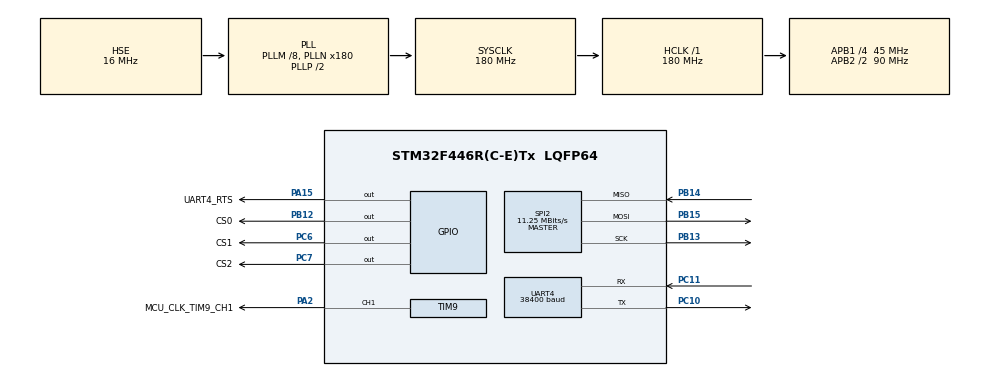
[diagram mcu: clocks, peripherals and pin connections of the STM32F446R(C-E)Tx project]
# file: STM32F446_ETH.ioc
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FREERTOS.BinarySemaphores01=myBinarySemSpi,Dynamic,NULL,Available;myBinaryMbTCPSem01,Static,myBinaryMbTCPSem01ControlBlock,Available
FREERTOS.Tasks01=defaultTask,24,1024,StartDefaultTask,Default,NULL,Dynamic,NULL,NULL
FREERTOS.configENABLE_FPU=0
FREERTOS.configMINIMAL_STACK_SIZE=256
FREERTOS.configTOTAL_HEAP_SIZE=32000
FREERTOS.configUSE_PREEMPTION=1
Mcu.Family=STM32F4
Mcu.Name=STM32F446R(C-E)Tx
Mcu.Package=LQFP64
NVIC.PriorityGroup=NVIC_PRIORITYGROUP_4
NVIC.UART4_IRQn=true\:5\:0\:false\:false\:true\:true\:true\:false\:true
PA15.GPIO_Label=UART4_RTS
PA15.Signal=GPIO_Output
PA2.GPIO_Label=MCU_CLK_TIM9_CH1
PA2.Signal=S_TIM9_CH1
PB12.GPIO_Label=CS0
PB12.Signal=GPIO_Output
PB13.Mode=Full_Duplex_Master
PB13.Signal=SPI2_SCK
PB14.Mode=Full_Duplex_Master
PB14.Signal=SPI2_MISO
PB15.Mode=Full_Duplex_Master
PB15.Signal=SPI2_MOSI
PC10.Mode=Asynchronous
PC10.Signal=UART4_TX
PC11.Mode=Asynchronous
PC11.Signal=UART4_RX
PC12.Signal=UART5_TX
PC14-OSC32_IN.Mode=LSE-External-Oscillator
PC14-OSC32_IN.Signal=RCC_OSC32_IN
PC15-OSC32_OUT.Mode=LSE-External-Oscillator
PC15-OSC32_OUT.Signal=RCC_OSC32_OUT
PC6.GPIO_Label=CS1
PC6.Signal=GPIO_Output
PC7.GPIO_Label=CS2
PC7.Signal=GPIO_Output
PD2.Signal=UART5_RX
PH0-OSC_IN.Mode=HSE-External-Oscillator
PH0-OSC_IN.Signal=RCC_OSC_IN
PH1-OSC_OUT.Mode=HSE-External-Oscillator
PH1-OSC_OUT.Signal=RCC_OSC_OUT
ProjectManager.HeapSize=0x200
ProjectManager.StackSize=0x400
ProjectManager.TargetToolchain=STM32CubeIDE
RCC.AHBFreq_Value=180000000
RCC.APB1CLKDivider=RCC_HCLK_DIV4
RCC.APB1Freq_Value=45000000
RCC.APB1TimFreq_Value=90000000
RCC.APB2CLKDivider=RCC_HCLK_DIV2
RCC.APB2Freq_Value=90000000
RCC.APB2TimFreq_Value=180000000
RCC.CortexFreq_Value=180000000
RCC.HCLKFreq_Value=180000000
RCC.HSE_VALUE=16000000
RCC.PLLM=8
RCC.PLLN=180
RCC.PLLSourceVirtual=RCC_PLLSOURCE_HSE
RCC.SYSCLKFreq_VALUE=180000000
RCC.SYSCLKSource=RCC_SYSCLKSOURCE_PLLCLK
RCC.USBFreq_Value=180000000
RCC.VCOOutputFreq_Value=360000000
SH.S_TIM9_CH1.0=TIM9_CH1,PWM Generation1 CH1
SPI2.BaudRatePrescaler=SPI_BAUDRATEPRESCALER_4
SPI2.CalculateBaudRate=11.25 MBits/s
SPI2.Direction=SPI_DIRECTION_2LINES
SPI2.Mode=SPI_MODE_MASTER
SPI2.VirtualType=VM_MASTER
TIM9.AutoReloadPreload=TIM_AUTORELOAD_PRELOAD_ENABLE
TIM9.Channel-PWM\ Generation1\ CH1=TIM_CHANNEL_1
UART4.BaudRate=38400
UART4.VirtualMode=Asynchronous
VP_FATFS_VS_Generic.Mode=User_defined
VP_FREERTOS_VS_CMSIS_V2.Mode=CMSIS_V2
VP_TIM9_VS_ClockSourceINT.Mode=Internal
board=custom

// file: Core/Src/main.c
/* USER CODE BEGIN Header */
/**
  ******************************************************************************
  * @file           : main.c
  * @brief          : Main program body
  ******************************************************************************
  * @attention
  *
  * <h2><center>&copy; Copyright (c) 2020 STMicroelectronics.
  * All rights reserved.</center></h2>
  *
  * This software component is licensed by ST under BSD 3-Clause license,
  * the "License"; You may not use this file except in compliance with the
  * License. You may obtain a copy of the License at:
  *                        opensource.org/licenses/BSD-3-Clause
  *
  ******************************************************************************
  */
/* USER CODE END Header */
#include "main.h"
#include "cmsis_os.h"
#include "fatfs.h"

/* USER CODE BEGIN Includes */
#include "../../lwip/Target/enc424j600/enc424j600.h"
#include "lwip.h"
#include "semphr.h"
#include "api.h"

#include "bit-array.h"

#include "mb.h"
#include "mbport.h"
#include "mbutils.h"

#include "bacnet/bacdef.h"

#include "bacnet_task.h"
#include "hmi_task.h"
/* USER CODE END Includes */

typedef StaticSemaphore_t osStaticSemaphoreDef_t;
/* USER CODE BEGIN PTD */
//#define MB_POOL_TASK

#define REG_DISC_START							1
#define REG_DISC_SIZE							256

#define REG_COILS_START							1
#define REG_COILS_SIZE							256

#define REG_INPUT_START							1
#define REG_INPUT_NREGS							16

#define REG_HOLDING_START						1
#define REG_HOLDING_NREGS						50
/* USER CODE END PTD */

SPI_HandleTypeDef hspi2;

TIM_HandleTypeDef htim9;

UART_HandleTypeDef huart4;

/* Definitions for defaultTask */
osThreadId_t defaultTaskHandle;
const osThreadAttr_t defaultTask_attributes = {
  .name = "defaultTask",
  .stack_size = 1024 * 4,
  .priority = (osPriority_t) osPriorityNormal,
};
/* Definitions for myBinarySemSpi */
osSemaphoreId_t myBinarySemSpiHandle;
const osSemaphoreAttr_t myBinarySemSpi_attributes = {
  .name = "myBinarySemSpi"
};
/* Definitions for myBinaryMbTCPSem01 */
osSemaphoreId_t myBinaryMbTCPSem01Handle;
osStaticSemaphoreDef_t myBinaryMbTCPSem01ControlBlock;
const osSemaphoreAttr_t myBinaryMbTCPSem01_attributes = {
  .name = "myBinaryMbTCPSem01",
  .cb_mem = &myBinaryMbTCPSem01ControlBlock,
  .cb_size = sizeof(myBinaryMbTCPSem01ControlBlock),
};
/* USER CODE BEGIN PV */
/* Definitions for myHmiTask */
osThreadId_t myHmiTaskHandle;
uint32_t myHmiTaskBuffer[ 128 ];
//osStaticThreadDef_t myHmiTaskControlBlock;
const osThreadAttr_t myHmiTask_attributes = {
  .name = "myHmiTask",
//.cb_mem = &myHmiTaskControlBlock,
//.cb_size = sizeof(myHmiTaskControlBlock),
  .stack_mem = &myHmiTaskBuffer[0],
  .stack_size = sizeof(myHmiTaskBuffer),
  .priority = (osPriority_t) osPriorityNormal,
};

osSemaphoreId ModBUS_AcceptSemaphore;

static StaticTask_t  ModBusTCPSlaveTaskCB[NUMBER_OF_MB_MASTER_TCP_CONN];
#ifdef MB_POOL_TASK
static StackType_t   ModBusTCPSlaveTaskStk[NUMBER_OF_MB_MASTER_TCP_CONN][256];
#else
static StackType_t   ModBusTCPSlaveTaskStk[NUMBER_OF_MB_MASTER_TCP_CONN][300];
#endif
const osThreadAttr_t ModBusTCPSlaveTask_attributes[NUMBER_OF_MB_MASTER_TCP_CONN] =
{
#if NUMBER_OF_MB_MASTER_TCP_CONN > 0
	{
		.name		= "mbTCPSTask1",
		.cb_mem		= &ModBusTCPSlaveTaskCB[0],
		.cb_size	= sizeof(ModBusTCPSlaveTaskCB[0]),
		.stack_mem	= &ModBusTCPSlaveTaskStk[0][0],
		.stack_size	= sizeof(ModBusTCPSlaveTaskStk[0]),
		.priority	= (osPriority_t) osPriorityNormal,
	},
#endif
#if NUMBER_OF_MB_MASTER_TCP_CONN > 1
	{
		.name		= "mbTCPSTask2",
		.cb_mem		= &ModBusTCPSlaveTaskCB[1],
		.cb_size	= sizeof(ModBusTCPSlaveTaskCB[1]),
		.stack_mem	= &ModBusTCPSlaveTaskStk[1][0],
		.stack_size	= sizeof(ModBusTCPSlaveTaskStk[1]),
		.priority	= (osPriority_t) osPriorityNormal,
	},
#endif
#if NUMBER_OF_MB_MASTER_TCP_CONN > 2
	{
		.name		= "mbTCPSTask3",
		.cb_mem		= &ModBusTCPSlaveTaskCB[2],
		.cb_size	= sizeof(ModBusTCPSlaveTaskCB[2]),
		.stack_mem	= &ModBusTCPSlaveTaskStk[2][0],
		.stack_size	= sizeof(ModBusTCPSlaveTaskStk[2]),
		.priority	= (osPriority_t) osPriorityNormal,
	},
#endif
#if NUMBER_OF_MB_MASTER_TCP_CONN > 3
	{
		.name		= "mbTCPSTask4",
		.cb_mem		= &ModBusTCPSlaveTaskCB[3],
		.cb_size	= sizeof(ModBusTCPSlaveTaskCB[3]),
		.stack_mem	= &ModBusTCPSlaveTaskStk[3][0],
		.stack_size	= sizeof(ModBusTCPSlaveTaskStk[3]),
		.priority	= (osPriority_t) osPriorityNormal,
	},
#endif
#if NUMBER_OF_MB_MASTER_TCP_CONN > 4
	{
		.name		= "mbTCPSTask5",
		.cb_mem		= &ModBusTCPSlaveTaskCB[4],
		.cb_size	= sizeof(ModBusTCPSlaveTaskCB[4]),
		.stack_mem	= &ModBusTCPSlaveTaskStk[4][0],
		.stack_size	= sizeof(ModBusTCPSlaveTaskStk[4]),
		.priority	= (osPriority_t) osPriorityNormal,
	},
#endif
};

static StaticTask_t  ModBusTCPSlaveАcceptTaskCB;
static StackType_t   ModBusTCPSlaveAcceptTaskStk[200];
const osThreadAttr_t ModBusTCPSlaveAcceptTask_attributes =
{
	.name       = "mbTCPSАcceptTask",
	.cb_mem     = &ModBusTCPSlaveАcceptTaskCB,
	.cb_size    = sizeof(ModBusTCPSlaveАcceptTaskCB),
	.stack_mem  = &ModBusTCPSlaveAcceptTaskStk,
	.stack_size = sizeof(ModBusTCPSlaveAcceptTaskStk),
	.priority   = (osPriority_t) osPriorityNormal,
};
#ifdef MB_POOL_TASK
static StaticTask_t  ModBusSlaveTaskCB;
static StackType_t   ModBusSlaveTaskStk[300];
const osThreadAttr_t ModBusSlaveTask_attributes =
{
	.name		= "mbSlaveTask",
	.cb_mem		= &ModBusSlaveTaskCB,
	.cb_size	= sizeof(ModBusSlaveTaskCB),
	.stack_mem	= &ModBusSlaveTaskStk,
	.stack_size	= sizeof(ModBusSlaveTaskStk),
	.priority	= (osPriority_t) osPriorityNormal,
};
#endif
static osThreadId_t  BacnetTaskHandle;
static StaticTask_t  BacnetTaskCB;
static StackType_t   BacnetTaskStk[2048];//(512 + (MAX_APDU * 4)) * 4];
const osThreadAttr_t BacnetTask_attributes =
{
		.name		= "BacnetTask",
		.cb_mem		= &BacnetTaskCB,
		.cb_size	= sizeof(BacnetTaskCB),
		.stack_mem	= &BacnetTaskStk,
		.stack_size	= sizeof(BacnetTaskStk),
		.priority	= (osPriority_t) osPriorityNormal,
};

/*extern*/ BACNET_BINARY_PV Binary_Output_Level[16][BACNET_MAX_PRIORITY];

osThreadId_t myModBusTCPSlaveAcceptTaskHandle;
osThreadId_t myModBusSlaveTaskHandle;

extern stModbusConn arrModbusConn[NUMBER_OF_MB_MASTER_TCP_CONN];

static HMI_TASK_ARG hmi_task_arg;

static uint8_t arrInput[ 256 ] = { 0 };
static uint8_t arrOutput[ 256 ] = { 0 };
static uint8_t usRS485PortLed[ 2 ] = { 0 };

static uint8_t ucRegDiscBuf[(REG_DISC_SIZE / 8) + 1];
static uint8_t ucRegCoilsBuf[(REG_COILS_SIZE / 8) + 1];
static uint16_t usRegInputBuf[REG_INPUT_NREGS];
static uint16_t uiRegHolding[REG_HOLDING_NREGS];
/* USER CODE END PV */

void SystemClock_Config(void);
static void MX_GPIO_Init(void);
static void MX_SPI2_Init(void);
static void MX_UART4_Init(void);
static void MX_TIM9_Init(void);
void StartDefaultTask(void *argument);

/* USER CODE BEGIN PFP */
static void MX_TIM9_Init_New(void);
void ModBusTCPSlaveAcceptTask(void *argument);
void ModBusTCPSlavePollTask(void *argument);
void ModBusSlaveTask(void *argument);
void StartDefaultTask(void *argument);
/* USER CODE END PFP */

/* USER CODE BEGIN 0 */
extern osSemaphoreId s_xSemaphore;
/* USER CODE END 0 */

int main(void)
{

  /* MCU Configuration--------------------------------------------------------*/

  /* Reset of all peripherals, Initializes the Flash interface and the Systick. */
  HAL_Init();

  /* Configure the system clock */
  SystemClock_Config();

  /* Initialize all configured peripherals */
  MX_GPIO_Init();
  MX_SPI2_Init();
  MX_FATFS_Init();
  MX_UART4_Init();
  MX_TIM9_Init();
  /* USER CODE BEGIN 2 */
  /////////////////////////////////////////////////////////////////////////////
  __HAL_DBGMCU_FREEZE_TIM9();
  HAL_TIM_PWM_Start( &htim9, TIM_CHANNEL_1 );
  /////////////////////////////////////////////////////////////////////////////
  const uint8_t ucSlaveID[] = { 0xAA, 0xBB, 0xCC };
  eMBErrorCode eStatus;
  //eStatus = eMBInit( MB_TCP, 0x0A, 0, 38400, MB_PAR_EVEN );
  eStatus = eMBTCPInit(502);
  eStatus = eMBSetSlaveID( 0x34, TRUE, ucSlaveID, 3 );
  eStatus = eMBEnable();
  eStatus = eStatus;

  hmiInitLeds();
  /* USER CODE END 2 */

  /* Init scheduler */
  osKernelInitialize();

  /* Create the semaphores(s) */
  /* creation of myBinarySemSpi */
  myBinarySemSpiHandle = osSemaphoreNew(1, 1, &myBinarySemSpi_attributes);

  /* creation of myBinaryMbTCPSem01 */
  myBinaryMbTCPSem01Handle = osSemaphoreNew(1, 1, &myBinaryMbTCPSem01_attributes);

  /* Create the thread(s) */
  /* creation of defaultTask */
  defaultTaskHandle = osThreadNew(StartDefaultTask, NULL, &defaultTask_attributes);

  /* USER CODE BEGIN RTOS_THREADS */
  BacnetTaskHandle = osThreadNew(BacnetTask, (void*)NULL, &BacnetTask_attributes);

  hmi_task_arg.lpRS485PortLed[0] = &usRS485PortLed[0];
  hmi_task_arg.lpRS485PortLed[1] = &usRS485PortLed[1];
  hmi_task_arg.arrInput = arrInput;
  hmi_task_arg.arrOutput = arrOutput;
  hmi_task_arg.arrInputLen = len_of_array( arrInput );
  hmi_task_arg.arrOutputLen = len_of_array( arrOutput );
  myHmiTaskHandle = osThreadNew(HmiTask, (void*) &hmi_task_arg, &myHmiTask_attributes);

  myModBusTCPSlaveAcceptTaskHandle = osThreadNew(ModBusTCPSlaveAcceptTask, NULL, &ModBusTCPSlaveAcceptTask_attributes);
#ifdef MB_POOL_TASK
  myModBusSlaveTaskHandle = osThreadNew(ModBusSlaveTask, NULL, &ModBusSlaveTask_attributes);
#endif

  vTaskSuspend(myModBusTCPSlaveAcceptTaskHandle);
#ifdef MB_POOL_TASK
  vTaskSuspend(myModBusSlaveTaskHandle);
#endif
  /* USER CODE END RTOS_THREADS */

  /* Start scheduler */
  osKernelStart();

  /* We should never get here as control is now taken by the scheduler */

  /* Infinite loop */
  while (1)
  {

  }
}

void SystemClock_Config(void)
{
  RCC_OscInitTypeDef RCC_OscInitStruct = {0};
  RCC_ClkInitTypeDef RCC_ClkInitStruct = {0};

  /** Configure the main internal regulator output voltage
  */
  __HAL_RCC_PWR_CLK_ENABLE();
  __HAL_PWR_VOLTAGESCALING_CONFIG(PWR_REGULATOR_VOLTAGE_SCALE1);

  /** Initializes the RCC Oscillators according to the specified parameters
  * in the RCC_OscInitTypeDef structure.
  */
  RCC_OscInitStruct.OscillatorType = RCC_OSCILLATORTYPE_HSE;
  RCC_OscInitStruct.HSEState = RCC_HSE_ON;
  RCC_OscInitStruct.PLL.PLLState = RCC_PLL_ON;
  RCC_OscInitStruct.PLL.PLLSource = RCC_PLLSOURCE_HSE;
  RCC_OscInitStruct.PLL.PLLM = 8;
  RCC_OscInitStruct.PLL.PLLN = 180;
  RCC_OscInitStruct.PLL.PLLP = RCC_PLLP_DIV2;
  RCC_OscInitStruct.PLL.PLLQ = 2;
  RCC_OscInitStruct.PLL.PLLR = 2;
  if (HAL_RCC_OscConfig(&RCC_OscInitStruct) != HAL_OK)
  {
    Error_Handler();
  }

  /** Activate the Over-Drive mode
  */
  if (HAL_PWREx_EnableOverDrive() != HAL_OK)
  {
    Error_Handler();
  }

  /** Initializes the CPU, AHB and APB buses clocks
  */
  RCC_ClkInitStruct.ClockType = RCC_CLOCKTYPE_HCLK|RCC_CLOCKTYPE_SYSCLK
                              |RCC_CLOCKTYPE_PCLK1|RCC_CLOCKTYPE_PCLK2;
  RCC_ClkInitStruct.SYSCLKSource = RCC_SYSCLKSOURCE_PLLCLK;
  RCC_ClkInitStruct.AHBCLKDivider = RCC_SYSCLK_DIV1;
  RCC_ClkInitStruct.APB1CLKDivider = RCC_HCLK_DIV4;
  RCC_ClkInitStruct.APB2CLKDivider = RCC_HCLK_DIV2;

  if (HAL_RCC_ClockConfig(&RCC_ClkInitStruct, FLASH_LATENCY_5) != HAL_OK)
  {
    Error_Handler();
  }
}

static void MX_SPI2_Init(void)
{

  /* SPI2 parameter configuration*/
  hspi2.Instance = SPI2;
  hspi2.Init.Mode = SPI_MODE_MASTER;
  hspi2.Init.Direction = SPI_DIRECTION_2LINES;
  hspi2.Init.DataSize = SPI_DATASIZE_8BIT;
  hspi2.Init.CLKPolarity = SPI_POLARITY_LOW;
  hspi2.Init.CLKPhase = SPI_PHASE_1EDGE;
  hspi2.Init.NSS = SPI_NSS_SOFT;
  hspi2.Init.BaudRatePrescaler = SPI_BAUDRATEPRESCALER_4;
  hspi2.Init.FirstBit = SPI_FIRSTBIT_MSB;
  hspi2.Init.TIMode = SPI_TIMODE_DISABLE;
  hspi2.Init.CRCCalculation = SPI_CRCCALCULATION_DISABLE;
  hspi2.Init.CRCPolynomial = 10;
  if (HAL_SPI_Init(&hspi2) != HAL_OK)
  {
    Error_Handler();
  }

}

static void MX_TIM9_Init(void)
{

  /* USER CODE BEGIN TIM9_Init 0 */
	MX_TIM9_Init_New();
	return;
  /* USER CODE END TIM9_Init 0 */

  TIM_ClockConfigTypeDef sClockSourceConfig = {0};
  TIM_OC_InitTypeDef sConfigOC = {0};

  htim9.Instance = TIM9;
  htim9.Init.Prescaler = 0;
  htim9.Init.CounterMode = TIM_COUNTERMODE_UP;
  htim9.Init.Period = 65535;
  htim9.Init.ClockDivision = TIM_CLOCKDIVISION_DIV1;
  htim9.Init.AutoReloadPreload = TIM_AUTORELOAD_PRELOAD_ENABLE;
  if (HAL_TIM_Base_Init(&htim9) != HAL_OK)
  {
    Error_Handler();
  }
  sClockSourceConfig.ClockSource = TIM_CLOCKSOURCE_INTERNAL;
  if (HAL_TIM_ConfigClockSource(&htim9, &sClockSourceConfig) != HAL_OK)
  {
    Error_Handler();
  }
  if (HAL_TIM_PWM_Init(&htim9) != HAL_OK)
  {
    Error_Handler();
  }
  sConfigOC.OCMode = TIM_OCMODE_PWM1;
  sConfigOC.Pulse = 0;
  sConfigOC.OCPolarity = TIM_OCPOLARITY_HIGH;
  sConfigOC.OCFastMode = TIM_OCFAST_DISABLE;
  if (HAL_TIM_PWM_ConfigChannel(&htim9, &sConfigOC, TIM_CHANNEL_1) != HAL_OK)
  {
    Error_Handler();
  }
  HAL_TIM_MspPostInit(&htim9);

}

static void MX_UART4_Init(void)
{

  huart4.Instance = UART4;
  huart4.Init.BaudRate = 38400;
  huart4.Init.WordLength = UART_WORDLENGTH_8B;
  huart4.Init.StopBits = UART_STOPBITS_1;
  huart4.Init.Parity = UART_PARITY_NONE;
  huart4.Init.Mode = UART_MODE_TX_RX;
  huart4.Init.HwFlowCtl = UART_HWCONTROL_NONE;
  huart4.Init.OverSampling = UART_OVERSAMPLING_16;
  if (HAL_UART_Init(&huart4) != HAL_OK)
  {
    Error_Handler();
  }

}

static void MX_GPIO_Init(void)
{
  GPIO_InitTypeDef GPIO_InitStruct = {0};

  /* GPIO Ports Clock Enable */
  __HAL_RCC_GPIOC_CLK_ENABLE();
  __HAL_RCC_GPIOH_CLK_ENABLE();
  __HAL_RCC_GPIOA_CLK_ENABLE();
  __HAL_RCC_GPIOB_CLK_ENABLE();
  __HAL_RCC_GPIOD_CLK_ENABLE();

  /*Configure GPIO pin Output Level */
  HAL_GPIO_WritePin(CS0_GPIO_Port, CS0_Pin, GPIO_PIN_RESET);

  /*Configure GPIO pin Output Level */
  HAL_GPIO_WritePin(GPIOC, CS1_Pin|CS2_Pin, GPIO_PIN_RESET);

  /*Configure GPIO pin Output Level */
  HAL_GPIO_WritePin(UART4_RTS_GPIO_Port, UART4_RTS_Pin, GPIO_PIN_RESET);

  /*Configure GPIO pin : CS0_Pin */
  GPIO_InitStruct.Pin = CS0_Pin;
  GPIO_InitStruct.Mode = GPIO_MODE_OUTPUT_PP;
  GPIO_InitStruct.Pull = GPIO_NOPULL;
  GPIO_InitStruct.Speed = GPIO_SPEED_FREQ_LOW;
  HAL_GPIO_Init(CS0_GPIO_Port, &GPIO_InitStruct);

  /*Configure GPIO pins : CS1_Pin CS2_Pin */
  GPIO_InitStruct.Pin = CS1_Pin|CS2_Pin;
  GPIO_InitStruct.Mode = GPIO_MODE_OUTPUT_PP;
  GPIO_InitStruct.Pull = GPIO_NOPULL;
  GPIO_InitStruct.Speed = GPIO_SPEED_FREQ_LOW;
  HAL_GPIO_Init(GPIOC, &GPIO_InitStruct);

  /*Configure GPIO pin : UART4_RTS_Pin */
  GPIO_InitStruct.Pin = UART4_RTS_Pin;
  GPIO_InitStruct.Mode = GPIO_MODE_OUTPUT_PP;
  GPIO_InitStruct.Pull = GPIO_NOPULL;
  GPIO_InitStruct.Speed = GPIO_SPEED_FREQ_LOW;
  HAL_GPIO_Init(UART4_RTS_GPIO_Port, &GPIO_InitStruct);

  /*Configure GPIO pin : PC12 */
  GPIO_InitStruct.Pin = GPIO_PIN_12;
  GPIO_InitStruct.Mode = GPIO_MODE_AF_PP;
  GPIO_InitStruct.Pull = GPIO_NOPULL;
  GPIO_InitStruct.Speed = GPIO_SPEED_FREQ_VERY_HIGH;
  GPIO_InitStruct.Alternate = GPIO_AF8_UART5;
  HAL_GPIO_Init(GPIOC, &GPIO_InitStruct);

  /*Configure GPIO pin : PD2 */
  GPIO_InitStruct.Pin = GPIO_PIN_2;
  GPIO_InitStruct.Mode = GPIO_MODE_AF_PP;
  GPIO_InitStruct.Pull = GPIO_NOPULL;
  GPIO_InitStruct.Speed = GPIO_SPEED_FREQ_VERY_HIGH;
  GPIO_InitStruct.Alternate = GPIO_AF8_UART5;
  HAL_GPIO_Init(GPIOD, &GPIO_InitStruct);

}

/* USER CODE BEGIN 4 */
static void MX_TIM9_Init_New(void)
{

  /* USER CODE BEGIN TIM9_Init 0 */

  /* USER CODE END TIM9_Init 0 */

  TIM_ClockConfigTypeDef sClockSourceConfig = {0};
  TIM_OC_InitTypeDef sConfigOC = {0};

  /* USER CODE BEGIN TIM9_Init 1 */

  /* USER CODE END TIM9_Init 1 */
  htim9.Instance = TIM9;
  htim9.Init.Prescaler = 4;
  htim9.Init.CounterMode = TIM_COUNTERMODE_UP;
  htim9.Init.Period = 5000;
  htim9.Init.ClockDivision = TIM_CLOCKDIVISION_DIV1;
  htim9.Init.AutoReloadPreload = TIM_AUTORELOAD_PRELOAD_ENABLE;
  if (HAL_TIM_Base_Init(&htim9) != HAL_OK)
  {
    Error_Handler();
  }
  sClockSourceConfig.ClockSource = TIM_CLOCKSOURCE_INTERNAL;
  if (HAL_TIM_ConfigClockSource(&htim9, &sClockSourceConfig) != HAL_OK)
  {
    Error_Handler();
  }
  if (HAL_TIM_PWM_Init(&htim9) != HAL_OK)
  {
    Error_Handler();
  }
  sConfigOC.OCMode = TIM_OCMODE_PWM1;
  sConfigOC.Pulse = 2500;
  sConfigOC.OCPolarity = TIM_OCPOLARITY_HIGH;
  sConfigOC.OCFastMode = TIM_OCFAST_DISABLE;
  if (HAL_TIM_PWM_ConfigChannel(&htim9, &sConfigOC, TIM_CHANNEL_1) != HAL_OK)
  {
    Error_Handler();
  }
  /* USER CODE BEGIN TIM9_Init 2 */
  /* USER CODE END TIM9_Init 2 */
  HAL_TIM_MspPostInit(&htim9);
}

eMBErrorCode eMBRegDiscreteCB(UCHAR * pucRegBuffer, USHORT usAddress, USHORT usNDiscrete)
{	// MB_FUNC_READ_DISCRETE_INPUTS          ( 2 )
	volatile eMBErrorCode eStatus = MB_ENOERR;
	volatile short iNDiscrete = ( short )usNDiscrete;
	volatile unsigned short usBitOffset;
	/* Check if we have registers mapped at this block. */
	if( (usAddress >= REG_DISC_START) &&
		(usAddress + usNDiscrete <= REG_DISC_START + REG_DISC_SIZE)
	)
	{
		for(int i = 0; i < REG_DISC_SIZE; i++ )
		{
			bitarr_write(ucRegDiscBuf, i, 1 & arrInput[i]);
		}
//		uiModbusTimeOutCounter = 0;
		usBitOffset = ( unsigned short )( usAddress - REG_DISC_START );
		while(iNDiscrete > 0)
		{
			*pucRegBuffer++ =
			xMBUtilGetBits( ucRegDiscBuf, usBitOffset,
                            (unsigned char)(iNDiscrete>8? 8:iNDiscrete)
			);
			iNDiscrete -= 8;
			usBitOffset += 8;
		}
		arrInput[0]++;
		return MB_ENOERR;
	}

	return eStatus;
}

eMBErrorCode eMBRegCoilsCB(UCHAR * pucRegBuffer, USHORT usAddress, USHORT usNCoils, eMBRegisterMode eMode)
{
    short           iNCoils = ( short )usNCoils;
    unsigned short  usBitOffset;

	/* Check if we have registers mapped at this block. */
	if( (usAddress >= REG_COILS_START) &&
		(usAddress + usNCoils <= REG_COILS_START + REG_COILS_SIZE)
	) {
		usBitOffset = (unsigned short)(usAddress - REG_COILS_START);
		switch(eMode)
		{
		// Read current values and pass to protocol stack.
		// MB_FUNC_READ_COILS						( 1 )
		case MB_REG_READ:
//			uiModbusTimeOutCounter = 0;
			for(int i = 0; i < REG_COILS_SIZE; i++ )
			{
				if(i < 16/*MAX_BINARY_OUTPUTS*/)
				{
					arrOutput[i] = (BINARY_ACTIVE == Binary_Output_Level[i][15]) ? 1 : 0;
				}
				bitarr_write(ucRegCoilsBuf, i, 1 & arrOutput[i]);
			}
			while( iNCoils > 0 )
			{
				*pucRegBuffer++ =
				xMBUtilGetBits( ucRegCoilsBuf, usBitOffset,
								(unsigned char)((iNCoils > 8) ? 8 : iNCoils)
				);
				usBitOffset += 8;
				iNCoils -= 8;
			}
		 return MB_ENOERR;
		 // Update current register values.
		 // MB_FUNC_WRITE_SINGLE_COIL				( 5 )
		 // MB_FUNC_WRITE_MULTIPLE_COILS			( 15 )
		 case MB_REG_WRITE:
//		 	uiModbusTimeOutCounter = 0;
		 	while( iNCoils > 0 )
		 	{
				xMBUtilSetBits( ucRegCoilsBuf, usBitOffset,
								(unsigned char)((iNCoils > 8) ? 8 : iNCoils),
								*pucRegBuffer++
				);
				usBitOffset += 8;
				iNCoils -= 8;
			}
		 	for(int i = 0; i < REG_COILS_SIZE; i++ )
		 	{
		 		arrOutput[i] = bitarr_read(ucRegCoilsBuf, i);
		 		if(i < 16/*MAX_BINARY_OUTPUTS*/)
			 	{
			 		Binary_Output_Level[i][15] = (1 & arrOutput[i]) ? BINARY_ACTIVE : BINARY_INACTIVE;
			 	}
		 	}
		 return MB_ENOERR;
		}
	}

	return MB_ENOREG;
}

eMBErrorCode eMBRegInputCB(UCHAR * pucRegBuffer, USHORT usAddress, USHORT usNRegs)
{
    eMBErrorCode    eStatus = MB_ENOERR;
    int             iRegIndex;

    if( ( usAddress >= REG_INPUT_START )
        && ( usAddress + usNRegs <= REG_INPUT_START + REG_INPUT_NREGS ) )
    {
//    	usRegInputBuf[len_of_array(arrADC)]++;
//    	for(int i = 0; i < len_of_array(arrADC); i++ )
//    	{
//    		usRegInputBuf[i] = arrADC[i];
//    	}
    	usRegInputBuf[0]++;
        iRegIndex = ( int )( usAddress - REG_INPUT_START );
        while( usNRegs > 0 )
        {
            *pucRegBuffer++ =
                ( unsigned char )( usRegInputBuf[iRegIndex] >> 8 );
            *pucRegBuffer++ =
                ( unsigned char )( usRegInputBuf[iRegIndex] & 0xFF );
            iRegIndex++;
            usNRegs--;
        }
    }
    else
    {
        eStatus = MB_ENOREG;
    }

    return eStatus;
}

eMBErrorCode eMBRegHoldingCB( UCHAR * pucRegBuffer, USHORT usAddress, USHORT usNRegs, eMBRegisterMode eMode)
{
	unsigned int iRegIndex;

	/* Check if we have registers mapped at this block. */
	if( (usAddress >= REG_HOLDING_START) &&
		(usAddress + usNRegs <= REG_HOLDING_START + REG_HOLDING_NREGS)
	)
	{
		switch(eMode) {
		case MB_REG_READ:
//			uiModbusTimeOutCounter = 0;
			iRegIndex = (int)(usAddress - 1);
			while( usNRegs > 0 ) {
				*pucRegBuffer++ = uiRegHolding[iRegIndex]>>8;
				*pucRegBuffer++ = uiRegHolding[iRegIndex];
				++iRegIndex;
				--usNRegs;
			}
		 return MB_ENOERR;
		// Update current register values.
		// MB_FUNC_WRITE_MULTIPLE_REGISTERS             (16)
		case MB_REG_WRITE: {
			uint16_t dac = uiRegHolding[4];
			// Запазва текущия работен диапазон на ADC и DAC.
			uint16_t old = 0x0F03 & uiRegHolding[14];
//			uint16_t oldUartControl = 0x000f & uiRegHolding[17];

//			uiModbusTimeOutCounter = 0;
			iRegIndex = (int)(usAddress - 1);
			while( usNRegs > 0 ) {
				uiRegHolding[iRegIndex]  = (*pucRegBuffer++)<<8;
				uiRegHolding[iRegIndex] |= *pucRegBuffer++;
				++iRegIndex;
				--usNRegs;
			}
			///////////////////////////////////////////////////////////////////////////////////////////////////////////
			if(0x0080 & uiRegHolding[4]) {
				uiRegHolding[4] = (0x007f & dac) | (0xff00 & uiRegHolding[4]);
			}

			if(0x8000 & uiRegHolding[4]) {
				uiRegHolding[4] = (0x7f00 & dac) | (0x00ff & uiRegHolding[4]);
			}

			// Ако не е зададен нов работен диапазон, се възстановява стария:
			if(!(0x0003 & uiRegHolding[14])) uiRegHolding[14] |= (0x0003 & old);

			// DAC0 - Запазване на стария работен диапазон:
			if(!(0x0300 & uiRegHolding[14])) uiRegHolding[14] |= (0x0300 & old);
			// DAC1 - Запазване на стария работен диапазон:
			if(!(0x0C00 & uiRegHolding[14])) uiRegHolding[14] |= (0x0C00 & old);

			//if(!(0x0003 & uiRegHolding[17])) uiRegHolding[17] |= (0x0003 & oldUartControl);
			//if(!(0x000c & uiRegHolding[17])) uiRegHolding[17] |= (0x000c & oldUartControl);
		}
		 return MB_ENOERR;
		}
	}

	return MB_ENOREG;
}
#ifdef MB_POOL_TASK
void ModBusTCPSlavePollTask(void *argument)
{
	stModbusConn *lpModbusConn = (stModbusConn *)argument;
	eMBEventType eEvent;
	struct netbuf *buf;

	while(1)
	{
		vTaskSuspend(NULL);

		//netconn_set_sendtimeout(lpModbusConn->newconn, 5000);
		netconn_set_recvtimeout(lpModbusConn->newconn, 5000);
		while( ERR_OK == netconn_recv(lpModbusConn->newconn, &buf) )
		{
			do
			{
				lpModbusConn->len = pbuf_copy_partial(buf->p, lpModbusConn->aucTCPBuf, len_of_array(lpModbusConn->aucTCPBuf), 0);

				eEvent = EV_FRAME_RECEIVED;
				if( xQueueSend(lpModbusConn->xQueueMbRX, (const void *)&eEvent, portMAX_DELAY) )
				{
					eEvent = EV_READY;
					if( xQueueReceive(lpModbusConn->xQueueMbTX, (void *)&eEvent, portTICK_RATE_MS * 1000) )
					{
						if( EV_FRAME_SENT == eEvent )
						{
							eEvent = eEvent;
						}
					}
				}
			} while( netbuf_next(buf) > 0 );
			netbuf_delete(buf);
			portYIELD();
		}

		netconn_close(lpModbusConn->newconn);
		netconn_delete(lpModbusConn->newconn);
		lpModbusConn->newconn = NULL;
		osSemaphoreRelease(ModBUS_AcceptSemaphore);
	}
}
#else
void ModBusTCPSlaveNoPollTask(void *argument)
{
	stModbusConn *lpModbusConn = (stModbusConn *)argument;
	struct netbuf *buf;

	while(1)
	{
		vTaskSuspend(NULL);

		//netconn_set_sendtimeout(lpModbusConn->newconn, 5000);
		netconn_set_recvtimeout(lpModbusConn->newconn, 5000);
		while( ERR_OK == netconn_recv(lpModbusConn->newconn, &buf) )
		{
			do
			{
				lpModbusConn->len = pbuf_copy_partial(buf->p, lpModbusConn->aucTCPBuf, len_of_array(lpModbusConn->aucTCPBuf), 0);
				eMBNoPollTcp(lpModbusConn);
			} while( netbuf_next(buf) > 0 );
			netbuf_delete(buf);
			portYIELD();
		}

		netconn_close(lpModbusConn->newconn);
		netconn_delete(lpModbusConn->newconn);
		lpModbusConn->newconn = NULL;
		osSemaphoreRelease(ModBUS_AcceptSemaphore);
	}
}
#endif
void ModBusTCPSlaveAcceptTask(void *argument)
{
	struct netconn *conn, *newconn;
	uint8_t i;

	ModBUS_AcceptSemaphore = osSemaphoreNew(1, 1, NULL);

	for( i = 0; i < len_of_array(arrModbusConn); i++ )
	{
		arrModbusConn[i].newconn = NULL;
#ifdef MB_POOL_TASK
		arrModbusConn[i].hTask = osThreadNew(ModBusTCPSlavePollTask, &arrModbusConn[i], &ModBusTCPSlaveTask_attributes[i]);
#else
		arrModbusConn[i].hTask = osThreadNew(ModBusTCPSlaveNoPollTask, &arrModbusConn[i], &ModBusTCPSlaveTask_attributes[i]);
#endif
	}

	while( 1 )
	{
		while( NULL == (conn = netconn_new(NETCONN_TCP)) )
		{
			vTaskDelay(500);
		}
		while( ERR_OK != netconn_bind(conn, IP_ADDR_ANY, 502) )
		{
			vTaskDelay(500);
		}
		while( ERR_OK != netconn_listen(conn) )
		{
			vTaskDelay(500);
		}

		while( 1 )
		{
			for( i = 0; i < len_of_array(arrModbusConn); i++ )
			{
				if( NULL == arrModbusConn[i].newconn )
				{
					while( ERR_OK != netconn_accept(conn, &newconn) )
					{
						vTaskDelay(500);
					}
					arrModbusConn[i].newconn = newconn;
					vTaskResume(arrModbusConn[i].hTask);
				}
			}
			osSemaphoreAcquire(ModBUS_AcceptSemaphore, portMAX_DELAY);
		}
	}
}
#ifdef MB_POOL_TASK
void ModBusSlaveTask(void *argument)
{
	for(;;)
	{
		eMBPoll();
		portYIELD();
	}
}
#endif
/* USER CODE END 4 */

/* USER CODE BEGIN Header_StartDefaultTask */
/**
  * @brief  Function implementing the DefaultTask thread.
  * @param  argument: Not used
  * @retval None
  */
volatile uint8_t get_mem_stat = 0;
volatile HeapStats_t xHeapStats;
/* USER CODE END Header_StartDefaultTask */
void StartDefaultTask(void *argument)
{
  /* USER CODE BEGIN 5 */
	extern struct netif gnetif;

	MX_LWIP_Init();

	while( !netif_is_link_up(&gnetif) )
	{
		vTaskDelay(5);
	}

	vTaskResume(myModBusTCPSlaveAcceptTaskHandle);
#ifdef MB_POOL_TASK
	vTaskResume(myModBusSlaveTaskHandle);
#endif
	for(;;)
	{
		//enc424j600EventHandler();
		//if( EIR_PKTIF & enc424j600EventHandler() ) //enc424j600ReadReg(EIRL) )
		xSemaphoreTake(myBinarySemSpiHandle, (TickType_t)portMAX_DELAY);
		if(EIR_PKTIF & enc424j600ReadReg(EIR))
		{
			extern osSemaphoreId RxPktSemaphore;
//			enc424j600BFCReg(EIR, EIR_PKTIF);
			if(NULL != RxPktSemaphore)
			{
				osSemaphoreRelease(RxPktSemaphore);
			}
//			usRS485PortLed[0] ^= 1;
		}
		xSemaphoreGive(myBinarySemSpiHandle);

		if( get_mem_stat )
		{
			vPortGetHeapStats(&xHeapStats);
			get_mem_stat = 0;
		}

		portYIELD();
	}
  /* USER CODE END 5 */
}

void Error_Handler(void)
{
  __disable_irq();
  while (1)
  {
  }
}
